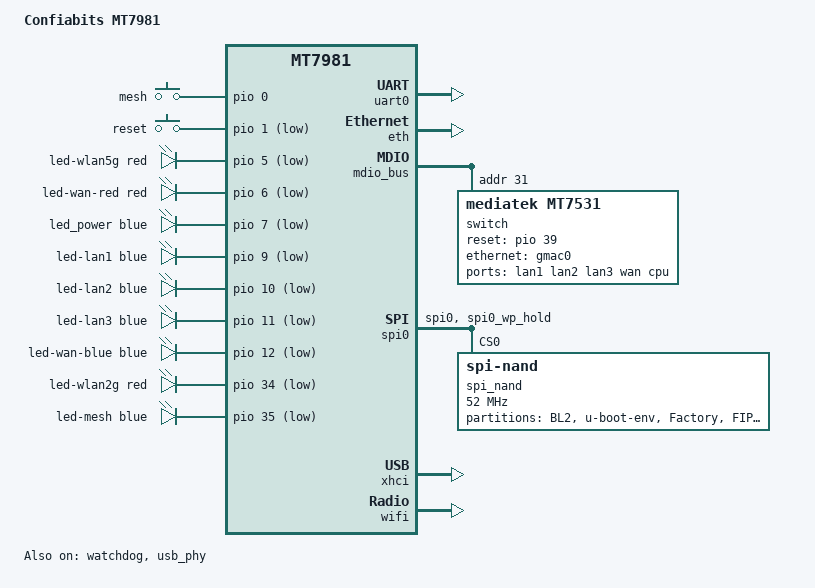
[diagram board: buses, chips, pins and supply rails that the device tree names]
// SPDX-License-Identifier: GPL-2.0-only OR MIT
/dts-v1/;

#include "mt7981.dtsi"
#include <dt-bindings/gpio/gpio.h>
#include <dt-bindings/input/input.h>
#include <dt-bindings/leds/common.h>

/ {
	model = "Confiabits MT7981";
	compatible = "confiabits,mt7981", "mediatek,mt7981";

	aliases {
		led-boot = &led_power;
		led-failsafe = &led_power;
		led-running = &led_power;
		led-upgrade = &led_power;
		serial0 = &uart0;
	};

	chosen {
		stdout-path = "serial0:115200n8";
	};

	gpio-keys {
		compatible = "gpio-keys";

		button-mesh {
			label = "mesh";
			linux,input-type = <EV_SW>;
			linux,code = <BTN_0>;
			gpios = <&pio 0 GPIO_ACTIVE_HIGH>;
			debounce-interval = <60>;
		};

		button-reset {
			label = "reset";
			linux,code = <KEY_RESTART>;
			gpios = <&pio 1 GPIO_ACTIVE_LOW>;
		};
	};

	leds {
		compatible = "gpio-leds";

		led-wlan5g {
			color = <LED_COLOR_ID_RED>;
			function = LED_FUNCTION_WLAN;
			function-enumerator = <5>;
			gpios = <&pio 5 GPIO_ACTIVE_LOW>;
			linux,default-trigger = "phy1tpt";
		};

		led-wan-red {
			color = <LED_COLOR_ID_RED>;
			function = LED_FUNCTION_WAN;
			gpios = <&pio 6 GPIO_ACTIVE_LOW>;
		};

		led_power: led-power {
			color = <LED_COLOR_ID_BLUE>;
			function = LED_FUNCTION_POWER;
			gpios = <&pio 7 GPIO_ACTIVE_LOW>;
		};

		led-lan1 {
			color = <LED_COLOR_ID_BLUE>;
			function = LED_FUNCTION_LAN;
			function-enumerator = <1>;
			gpios = <&pio 9 GPIO_ACTIVE_LOW>;
		};

		led-lan2 {
			color = <LED_COLOR_ID_BLUE>;
			function = LED_FUNCTION_LAN;
			function-enumerator = <2>;
			gpios = <&pio 10 GPIO_ACTIVE_LOW>;
		};

		led-lan3 {
			color = <LED_COLOR_ID_BLUE>;
			function = LED_FUNCTION_LAN;
			function-enumerator = <3>;
			gpios = <&pio 11 GPIO_ACTIVE_LOW>;
		};

		led-wan-blue {
			color = <LED_COLOR_ID_BLUE>;
			function = LED_FUNCTION_WAN;
			gpios = <&pio 12 GPIO_ACTIVE_LOW>;
		};

		led-wlan2g {
			color = <LED_COLOR_ID_RED>;
			function = LED_FUNCTION_WLAN;
			function-enumerator = <2>;
			gpios = <&pio 34 GPIO_ACTIVE_LOW>;
			linux,default-trigger = "phy0tpt";
		};

		led-mesh {
			color = <LED_COLOR_ID_BLUE>;
			function = "mesh"; // no LED_FUNCTION_MESH yet
			gpios = <&pio 35 GPIO_ACTIVE_LOW>;
		};
	};
};

&uart0 {
	status = "okay";
};

&watchdog {
	status = "okay";
};

&eth {
	pinctrl-names = "default";
	pinctrl-0 = <&mdio_pins>;

	status = "okay";

	gmac0: mac@0 {
		compatible = "mediatek,eth-mac";
		reg = <0>;
		phy-mode = "2500base-x";

		nvmem-cell-names = "mac-address";
		nvmem-cells = <&macaddr_factory_4 0>;

		fixed-link {
			speed = <2500>;
			full-duplex;
			pause;
		};
	};
};


&mdio_bus {
	#address-cells = <1>;
	#size-cells = <0>;

	switch: switch@1f {
		compatible = "mediatek,mt7531";
		reg = <31>;
		reset-gpios = <&pio 39 GPIO_ACTIVE_HIGH>;
	};
};

&switch {
	ports {
		#address-cells = <1>;
		#size-cells = <0>;

		port@0 {
			reg = <0>;
			label = "lan1";
		};

		port@2 {
			reg = <2>;
			label = "lan2";
		};

		port@3 {
			reg = <3>;
			label = "lan3";
		};

		port@4 {
			reg = <4>;
			label = "wan";

			nvmem-cell-names = "mac-address";
			nvmem-cells = <&macaddr_factory_4 1>;
		};

		port@6 {
			reg = <6>;
			label = "cpu";
			ethernet = <&gmac0>;
			phy-mode = "2500base-x";

			fixed-link {
				speed = <2500>;
				full-duplex;
				pause;
			};
		};
	};
};

&spi0 {
	pinctrl-names = "default";
	pinctrl-0 = <&spi0_flash_pins>;
	status = "okay";

	spi_nand: flash@0 {
		#address-cells = <1>;
		#size-cells = <1>;
		compatible = "spi-nand";
		reg = <0>;
		spi-max-frequency = <52000000>;

		spi-cal-enable;
		spi-cal-mode = "read-data";
		spi-cal-datalen = <7>;
		spi-cal-data = /bits/ 8 <0x53 0x50 0x49 0x4E 0x41 0x4E 0x44>;
		spi-cal-addrlen = <5>;
		spi-cal-addr = /bits/ 32 <0x0 0x0 0x0 0x0 0x0>;

		spi-tx-bus-width = <4>;
		spi-rx-bus-width = <4>;
		mediatek,nmbm;
		mediatek,bmt-max-ratio = <1>;
		mediatek,bmt-max-reserved-blocks = <64>;

		partitions {
			compatible = "fixed-partitions";
			#address-cells = <1>;
			#size-cells = <1>;

			partition@0 {
				label = "BL2";
				reg = <0x00000 0x0100000>;
				read-only;
			};

			partition@100000 {
				label = "u-boot-env";
				reg = <0x0100000 0x0080000>;
				read-only;
			};

			factory: partition@180000 {
				label = "Factory";
				reg = <0x180000 0x0200000>;
				read-only;

				nvmem-layout {
					compatible = "fixed-layout";
					#address-cells = <1>;
					#size-cells = <1>;

					eeprom_factory_0: eeprom@0 {
						reg = <0x0 0x1000>;
					};

					macaddr_factory_4: macaddr@4 {
						compatible = "mac-base";
						reg = <0x4 0x6>;
						#nvmem-cell-cells = <1>;
					};
				};
			};

			partition@380000 {
				label = "FIP";
				reg = <0x380000 0x0200000>;
				read-only;
			};

			partition@580000 {
				label = "ubi";
				reg = <0x580000 0x4000000>;
				compatible = "linux,ubi";
			};
		};
	};
};

&pio {
	spi0_flash_pins: spi0-pins {
		mux {
			function = "spi";
			groups = "spi0", "spi0_wp_hold";
		};
	};

};

&usb_phy {
	status = "okay";
};

&xhci {
	status = "okay";
	mediatek,u3p-dis-msk = <0x1>;
};

&wifi {
	status = "okay";
	nvmem-cells = <&eeprom_factory_0>;
	nvmem-cell-names = "eeprom";
};
